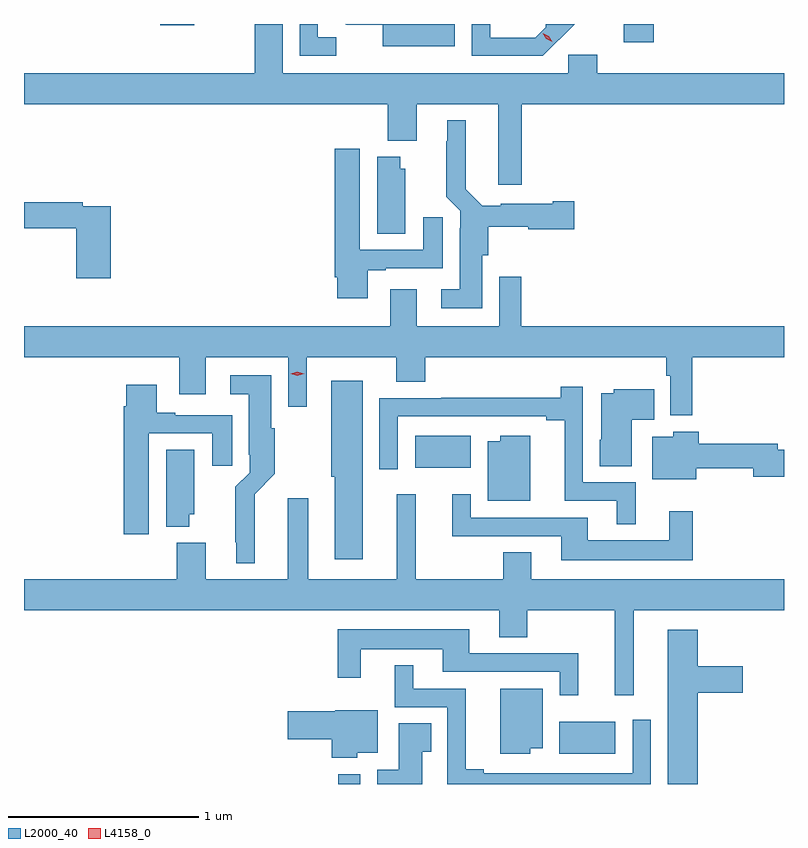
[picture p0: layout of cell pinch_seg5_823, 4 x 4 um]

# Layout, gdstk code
import gdstk
lib = gdstk.Library(unit=1e-6, precision=1e-09)
def R(c, l, rs):  # rectangles x0, y0, x1, y1
    for r in rs: c.add(gdstk.rectangle(r[:2], r[2:], *l))
def P(c, l, *ps):  # polygons
    for p in ps: c.add(gdstk.Polygon(p, *l))
L2000_40 = (2000, 40)
L4158_0 = (4158, 0)

pinch_seg5_823 = lib.new_cell('pinch_seg5_823')
R(pinch_seg5_823, L2000_40, [(782.539,886.482,782.655,886.534), (783.704,886.64,783.997,886.81), (782.945,888.146,783.238,888.316), (784.043,890.385,784.201,890.482), (781.604,890.475,781.782,890.482)])
P(pinch_seg5_823, L2000_40, [(783.506,890.06),(784.886,890.06),(784.886,890.224),(783.902,890.224),(783.902,890.32),(783.75,890.32),(783.75,890.224),(782.248,890.224),(782.248,890.482),(782.101,890.482),(782.101,890.224),(780.886,890.224),(780.886,890.06),(782.801,890.06),(782.801,889.868),(782.953,889.868),(782.953,890.06),(783.383,890.06),(783.383,889.635),(783.506,889.635)],
  [(783.784,890.482),(783.633,890.482),(783.633,890.466),(783.576,890.409),(783.339,890.409),(783.339,890.482),(783.243,890.482),(783.243,890.316),(783.616,890.316)],
  [(783.154,890.482),(782.577,890.482),(782.582,890.477),(782.774,890.477),(782.774,890.366),(783.154,890.366)],
  [(782.529,890.411),(782.433,890.411),(782.433,890.482),(782.337,890.482),(782.337,890.316),(782.529,890.316)],
  [(783.298,889.266),(783.329,889.266),(783.329,889.415),(783.54,889.415),(783.54,889.403),(783.781,889.403),(783.781,889.55),(783.668,889.55),(783.668,889.537),(783.396,889.537),(783.396,889.525),(783.297,889.525),(783.211,889.612),(783.211,889.975),(783.113,889.975),(783.113,889.865),(783.109,889.865),(783.109,889.574),(783.183,889.5),(783.183,889.406),(783.179,889.406),(783.179,889.087),(783.081,889.087),(783.081,888.986),(783.298,888.986)],
  [(782.695,889.185),(782.791,889.185),(782.791,889.197),(783.091,889.197),(783.091,889.465),(782.987,889.465),(782.987,889.293),(782.653,889.293),(782.653,889.825),(782.522,889.825),(782.522,889.15),(782.534,889.15),(782.534,889.038),(782.695,889.038)],
  [(782.893,889.719),(782.866,889.719),(782.866,889.783),(782.744,889.783),(782.744,889.378),(782.893,889.378)],
  [(781.343,889.524),(781.196,889.524),(781.196,889.544),(780.886,889.544),(780.886,889.408),(781.16,889.408),(781.16,889.143),(781.343,889.143)],
  [(784.403,888.728),(784.886,888.728),(784.886,888.892),(783.503,888.892),(783.503,889.153),(783.387,889.153),(783.387,888.892),(782.953,888.892),(782.953,889.087),(782.813,889.087),(782.813,888.892),(780.886,888.892),(780.886,888.728),(781.703,888.728),(781.703,888.534),(781.843,888.534),(781.843,888.728),(782.277,888.728),(782.277,888.468),(782.374,888.468),(782.374,888.728),(782.846,888.728),(782.846,888.598),(782.999,888.598),(782.999,888.728),(784.267,888.728),(784.267,888.632),(784.287,888.632),(784.287,888.422),(784.403,888.422)],
  [(782.101,888.008),(782.206,888.114),(782.206,888.354),(782.188,888.354),(782.188,888.634),(781.971,888.634),(781.971,888.533),(782.069,888.533),(782.069,888.214),(782.073,888.214),(782.073,888.12),(781.999,888.046),(781.999,887.755),(782.003,887.755),(782.003,887.645),(782.101,887.645)],
  [(782.668,888.604),(782.504,888.604),(782.504,888.098),(782.522,888.098),(782.522,887.664),(782.668,887.664)],
  [(781.543,888.327),(781.877,888.327),(781.877,888.156),(781.981,888.156),(781.981,888.423),(781.681,888.423),(781.681,888.436),(781.585,888.436),(781.585,888.583),(781.424,888.583),(781.424,888.47),(781.412,888.47),(781.412,887.796),(781.543,887.796)],
  [(784.105,888.069),(783.828,888.069),(783.828,888.574),(783.712,888.574),(783.712,888.515),(783.082,888.515),(783.082,888.513),(782.757,888.513),(782.757,888.138),(782.853,888.138),(782.853,888.417),(783.635,888.417),(783.635,888.397),(783.731,888.397),(783.731,887.973),(784.007,887.973),(784.007,887.849),(784.105,887.849)],
  [(784.084,888.398),(784.202,888.398),(784.202,888.559),(783.99,888.559),(783.99,888.538),(783.923,888.538),(783.923,888.294),(783.917,888.294),(783.917,888.154),(784.084,888.154)],
  [(784.423,888.145),(784.724,888.145),(784.724,888.098),(784.886,888.098),(784.886,888.24),(784.852,888.24),(784.852,888.274),(784.436,888.274),(784.436,888.337),(784.302,888.337),(784.302,888.31),(784.193,888.31),(784.193,888.086),(784.423,888.086)],
  [(783.55,888.316),(783.392,888.316),(783.392,888.286),(783.326,888.286),(783.326,887.972),(783.55,887.972)],
  [(781.756,887.901),(781.783,887.901),(781.783,888.242),(781.634,888.242),(781.634,887.837),(781.756,887.837)],
  [(784.405,887.917),(784.283,887.917),(784.283,887.764),(783.853,887.764),(783.853,887.883),(783.237,887.883),(783.237,888.007),(783.14,888.007),(783.14,887.787),(783.713,887.787),(783.713,887.66),(784.405,887.66)],
  [(784.094,887.396),(784.886,887.396),(784.886,887.56),(783.556,887.56),(783.556,887.702),(783.409,887.702),(783.409,887.56),(782.948,887.56),(782.948,888.007),(782.849,888.007),(782.849,887.56),(782.383,887.56),(782.383,887.986),(782.273,887.986),(782.273,887.56),(781.843,887.56),(781.843,887.752),(781.691,887.752),(781.691,887.56),(780.886,887.56),(780.886,887.396),(783.386,887.396),(783.386,887.254),(783.534,887.254),(783.534,887.396),(783.995,887.396),(783.995,886.95),(784.094,886.95)],
  [(783.803,887.169),(783.229,887.169),(783.229,887.296),(782.538,887.296),(782.538,887.04),(782.659,887.04),(782.659,887.192),(783.089,887.192),(783.089,887.073),(783.705,887.073),(783.705,886.95),(783.803,886.95)],
  [(784.433,886.961),(784.669,886.961),(784.669,887.103),(784.433,887.103),(784.433,887.293),(784.274,887.293),(784.274,886.482),(784.433,886.482)],
  [(784.185,886.819),(784.089,886.819),(784.089,886.539),(783.307,886.539),(783.307,886.559),(783.212,886.559),(783.212,886.983),(782.935,886.983),(782.935,887.107),(782.837,887.107),(782.837,886.887),(783.114,886.887),(783.114,886.482),(784.185,886.482)],
  [(783.55,886.67),(783.616,886.67),(783.616,886.984),(783.392,886.984),(783.392,886.64),(783.55,886.64)],
  [(782.64,886.646),(782.749,886.646),(782.749,886.87),(782.523,886.87),(782.523,886.865),(782.274,886.865),(782.274,886.718),(782.507,886.718),(782.507,886.619),(782.64,886.619)],
  [(782.983,886.651),(783.029,886.651),(783.029,886.802),(782.858,886.802),(782.858,886.558),(782.744,886.558),(782.744,886.482),(782.983,886.482)])
P(pinch_seg5_823, L4158_0, [(782.325,888.632),(782.289,888.642),(782.289,888.642),(782.289,888.642),(782.325,888.652),(782.36,888.642),(782.36,888.642),(782.36,888.642)],
  [(783.665,890.388),(783.634,890.404),(783.616,890.433),(783.616,890.433),(783.617,890.433),(783.648,890.418),(783.665,890.389),(783.665,890.388)])

lib.write_gds('pinch_seg5_823.gds')
